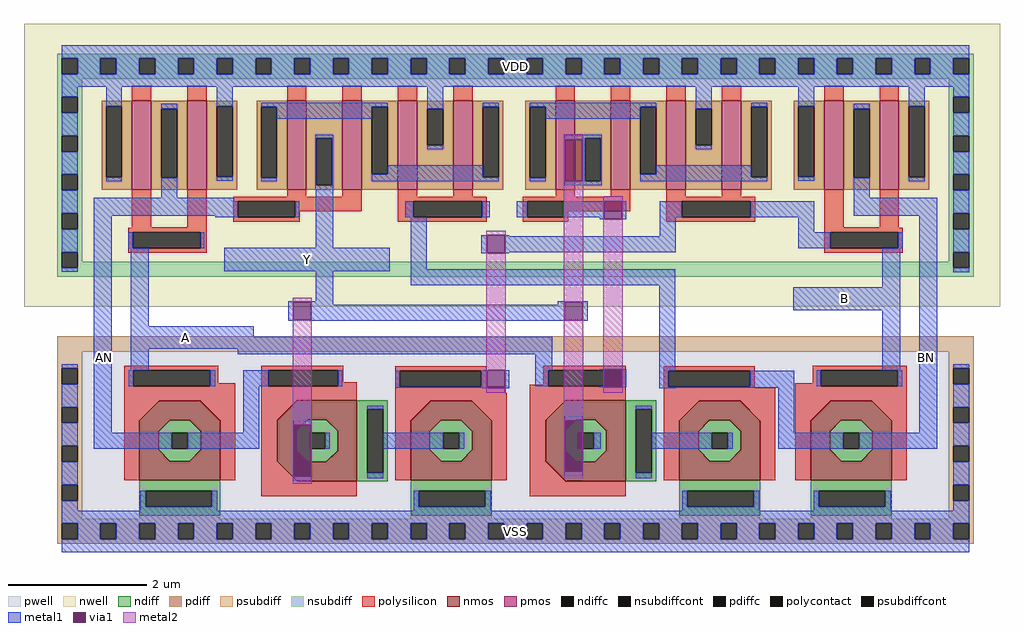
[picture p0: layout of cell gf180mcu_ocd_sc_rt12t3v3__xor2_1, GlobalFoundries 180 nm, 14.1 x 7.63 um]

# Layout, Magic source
magic
tech gf180mcuD
magscale 1 10
<< nwell >>
rect -132 649 2688 1466
<< pwell >>
rect -36 -36 2612 563
<< nmos >>
tri 201 319 259 377 se
rect 259 321 377 377
rect 259 319 287 321
tri 287 319 289 321 nw
tri 347 319 349 321 ne
rect 349 319 377 321
tri 377 319 435 377 sw
rect 201 203 257 319
tri 257 289 287 319 nw
tri 349 289 379 319 ne
tri 257 203 289 235 sw
tri 347 203 379 235 se
rect 379 203 435 319
rect 201 147 435 203
tri 600 321 658 379 se
rect 658 323 830 379
rect 600 293 658 321
tri 658 293 688 323 nw
rect 600 231 656 293
tri 656 291 658 293 nw
tri 742 291 774 323 ne
tri 656 231 658 233 sw
rect 600 203 658 231
tri 600 145 658 203 ne
tri 658 201 688 231 sw
tri 742 201 774 233 se
rect 774 201 830 323
rect 658 145 830 201
tri 985 319 1043 377 se
rect 1043 321 1161 377
rect 1043 319 1071 321
tri 1071 319 1073 321 nw
tri 1131 319 1133 321 ne
rect 1133 319 1161 321
tri 1161 319 1219 377 sw
rect 985 203 1041 319
tri 1041 289 1071 319 nw
tri 1133 289 1163 319 ne
tri 1041 203 1073 235 sw
tri 1131 203 1163 235 se
rect 1163 203 1219 319
rect 985 147 1219 203
tri 1376 321 1434 379 se
rect 1434 323 1606 379
rect 1376 293 1434 321
tri 1434 293 1464 323 nw
rect 1376 231 1432 293
tri 1432 291 1434 293 nw
tri 1518 291 1550 323 ne
tri 1432 231 1434 233 sw
rect 1376 203 1434 231
tri 1376 145 1434 203 ne
tri 1434 201 1464 231 sw
tri 1518 201 1550 233 se
rect 1550 201 1606 323
rect 1434 145 1606 201
tri 1761 319 1819 377 se
rect 1819 321 1937 377
tri 1937 321 1993 377 sw
rect 1819 319 1847 321
tri 1847 319 1849 321 nw
rect 1761 203 1817 319
tri 1817 289 1847 319 nw
tri 1907 289 1939 321 ne
rect 1939 319 1993 321
tri 1993 319 1995 321 sw
tri 1817 203 1849 235 sw
tri 1907 203 1939 235 se
rect 1939 203 1995 319
rect 1761 147 1995 203
tri 2141 319 2199 377 se
rect 2199 321 2317 377
rect 2199 319 2227 321
tri 2227 319 2229 321 nw
tri 2287 319 2289 321 ne
rect 2289 319 2317 321
tri 2317 319 2375 377 sw
rect 2141 203 2197 319
tri 2197 289 2227 319 nw
tri 2289 289 2319 319 ne
tri 2197 203 2229 235 sw
tri 2287 203 2319 235 se
rect 2319 203 2375 319
rect 2141 147 2375 203
<< pmos >>
rect 180 987 236 1244
rect 340 987 396 1244
rect 628 987 684 1244
rect 788 987 844 1244
rect 948 987 1004 1244
rect 1108 987 1164 1244
rect 1404 987 1460 1244
rect 1564 987 1620 1244
rect 1724 987 1780 1244
rect 1884 987 1940 1244
rect 2180 987 2236 1244
rect 2340 987 2396 1244
<< ndiff >>
tri 287 319 289 321 se
rect 289 319 347 321
tri 347 319 349 321 sw
tri 257 289 287 319 se
rect 287 289 349 319
tri 349 289 379 319 sw
rect 257 285 379 289
rect 257 239 295 285
rect 341 239 379 285
rect 257 235 379 239
tri 257 203 289 235 ne
rect 289 203 347 235
tri 347 203 379 235 nw
rect 201 117 435 147
rect 201 71 220 117
rect 411 71 435 117
rect 830 352 919 379
tri 658 293 688 323 se
rect 688 293 742 323
tri 656 291 658 293 se
rect 658 291 742 293
tri 742 291 774 323 sw
rect 656 285 774 291
rect 656 239 692 285
rect 738 239 774 285
rect 656 233 774 239
tri 656 231 658 233 ne
rect 658 231 742 233
tri 658 201 688 231 ne
rect 688 201 742 231
tri 742 201 774 233 nw
rect 830 169 860 352
rect 906 169 919 352
rect 830 145 919 169
tri 1071 319 1073 321 se
rect 1073 319 1131 321
tri 1131 319 1133 321 sw
tri 1041 289 1071 319 se
rect 1071 289 1133 319
tri 1133 289 1163 319 sw
rect 1041 285 1163 289
rect 1041 239 1079 285
rect 1125 239 1163 285
rect 1041 235 1163 239
tri 1041 203 1073 235 ne
rect 1073 203 1131 235
tri 1131 203 1163 235 nw
rect 985 117 1219 147
rect 201 47 435 71
rect 985 71 1009 117
rect 1200 71 1219 117
rect 1606 352 1695 379
tri 1434 293 1464 323 se
rect 1464 293 1518 323
tri 1432 291 1434 293 se
rect 1434 291 1518 293
tri 1518 291 1550 323 sw
rect 1432 285 1550 291
rect 1432 239 1468 285
rect 1514 239 1550 285
rect 1432 233 1550 239
tri 1432 231 1434 233 ne
rect 1434 231 1518 233
tri 1434 201 1464 231 ne
rect 1464 201 1518 231
tri 1518 201 1550 233 nw
rect 1606 169 1636 352
rect 1682 169 1695 352
rect 1606 145 1695 169
tri 1847 319 1849 321 se
rect 1849 319 1907 321
tri 1817 289 1847 319 se
rect 1847 289 1907 319
tri 1907 289 1939 321 sw
rect 1817 285 1939 289
rect 1817 239 1855 285
rect 1901 239 1939 285
rect 1817 235 1939 239
tri 1817 203 1849 235 ne
rect 1849 203 1907 235
tri 1907 203 1939 235 nw
tri 2227 319 2229 321 se
rect 2229 319 2287 321
tri 2287 319 2289 321 sw
tri 2197 289 2227 319 se
rect 2227 289 2289 319
tri 2289 289 2319 319 sw
rect 2197 285 2319 289
rect 2197 239 2235 285
rect 2281 239 2319 285
rect 2197 235 2319 239
tri 2197 203 2229 235 ne
rect 2229 203 2287 235
tri 2287 203 2319 235 nw
rect 1761 117 1995 147
rect 985 47 1219 71
rect 1761 71 1785 117
rect 1976 71 1995 117
rect 1761 47 1995 71
rect 2141 117 2375 147
rect 2141 71 2165 117
rect 2356 71 2375 117
rect 2141 47 2375 71
<< pdiff >>
rect 92 1228 180 1244
rect 92 1023 105 1228
rect 151 1023 180 1228
rect 92 987 180 1023
rect 236 1221 340 1244
rect 236 1022 265 1221
rect 311 1022 340 1221
rect 236 987 340 1022
rect 396 1228 484 1244
rect 396 1024 425 1228
rect 471 1024 484 1228
rect 396 987 484 1024
rect 540 1227 628 1244
rect 540 1022 553 1227
rect 599 1022 628 1227
rect 540 987 628 1022
rect 684 1135 788 1244
rect 684 1000 713 1135
rect 759 1000 788 1135
rect 684 987 788 1000
rect 844 1227 948 1244
rect 844 1032 873 1227
rect 919 1032 948 1227
rect 844 987 948 1032
rect 1004 1221 1108 1244
rect 1004 1115 1033 1221
rect 1079 1115 1108 1221
rect 1004 987 1108 1115
rect 1164 1227 1252 1244
rect 1164 1023 1193 1227
rect 1239 1023 1252 1227
rect 1164 987 1252 1023
rect 1316 1227 1404 1244
rect 1316 1022 1329 1227
rect 1375 1022 1404 1227
rect 1316 987 1404 1022
rect 1460 1135 1564 1244
rect 1460 1012 1489 1135
rect 1535 1012 1564 1135
rect 1460 987 1564 1012
rect 1620 1227 1724 1244
rect 1620 1032 1649 1227
rect 1695 1032 1724 1227
rect 1620 987 1724 1032
rect 1780 1221 1884 1244
rect 1780 1115 1809 1221
rect 1855 1115 1884 1221
rect 1780 987 1884 1115
rect 1940 1227 2028 1244
rect 1940 1023 1969 1227
rect 2015 1023 2028 1227
rect 1940 987 2028 1023
rect 2092 1228 2180 1244
rect 2092 1024 2105 1228
rect 2151 1024 2180 1228
rect 2092 987 2180 1024
rect 2236 1221 2340 1244
rect 2236 1022 2265 1221
rect 2311 1022 2340 1221
rect 2236 987 2340 1022
rect 2396 1228 2484 1244
rect 2396 1023 2425 1228
rect 2471 1023 2484 1228
rect 2396 987 2484 1023
<< ndiffc >>
rect 295 239 341 285
rect 220 71 411 117
rect 692 239 738 285
rect 860 169 906 352
rect 1079 239 1125 285
rect 1009 71 1200 117
rect 1468 239 1514 285
rect 1636 169 1682 352
rect 1855 239 1901 285
rect 2235 239 2281 285
rect 1785 71 1976 117
rect 2165 71 2356 117
<< pdiffc >>
rect 105 1023 151 1228
rect 265 1022 311 1221
rect 425 1024 471 1228
rect 553 1022 599 1227
rect 713 1000 759 1135
rect 873 1032 919 1227
rect 1033 1115 1079 1221
rect 1193 1023 1239 1227
rect 1329 1022 1375 1227
rect 1489 1012 1535 1135
rect 1649 1032 1695 1227
rect 1809 1115 1855 1221
rect 1969 1023 2015 1227
rect 2105 1024 2151 1228
rect 2265 1022 2311 1221
rect 2425 1023 2471 1228
<< psubdiff >>
rect -36 519 2612 563
rect -36 471 36 519
rect -36 425 -23 471
rect 23 425 36 471
rect -36 359 36 425
rect -36 313 -23 359
rect 23 313 36 359
rect -36 247 36 313
rect -36 201 -23 247
rect 23 201 36 247
rect -36 135 36 201
rect -36 89 -23 135
rect 23 89 36 135
rect -36 36 36 89
rect 201 36 435 47
rect 2540 471 2612 519
rect 2540 425 2553 471
rect 2599 425 2612 471
rect 2540 359 2612 425
rect 2540 313 2553 359
rect 2599 313 2612 359
rect 2540 247 2612 313
rect 2540 201 2553 247
rect 2599 201 2612 247
rect 985 36 1219 47
rect 1761 36 1995 47
rect 2141 36 2375 47
rect 2540 135 2612 201
rect 2540 89 2553 135
rect 2599 89 2612 135
rect 2540 36 2612 89
rect -36 23 2612 36
rect -36 -23 -23 23
rect 23 -23 89 23
rect 135 -23 201 23
rect 247 -23 313 23
rect 359 -23 425 23
rect 471 -23 537 23
rect 583 -23 649 23
rect 695 -23 761 23
rect 807 -23 873 23
rect 919 -23 985 23
rect 1031 -23 1097 23
rect 1143 -23 1209 23
rect 1255 -23 1321 23
rect 1367 -23 1433 23
rect 1479 -23 1545 23
rect 1591 -23 1657 23
rect 1703 -23 1769 23
rect 1815 -23 1881 23
rect 1927 -23 1993 23
rect 2039 -23 2105 23
rect 2151 -23 2217 23
rect 2263 -23 2329 23
rect 2375 -23 2441 23
rect 2487 -23 2553 23
rect 2599 -23 2612 23
rect -36 -36 2612 -23
<< nsubdiff >>
rect -36 1367 2612 1380
rect -36 1321 -23 1367
rect 23 1321 89 1367
rect 135 1321 201 1367
rect 247 1321 313 1367
rect 359 1321 425 1367
rect 471 1321 537 1367
rect 583 1321 649 1367
rect 695 1321 761 1367
rect 807 1321 873 1367
rect 919 1321 985 1367
rect 1031 1321 1097 1367
rect 1143 1321 1209 1367
rect 1255 1321 1321 1367
rect 1367 1321 1433 1367
rect 1479 1321 1545 1367
rect 1591 1321 1657 1367
rect 1703 1321 1769 1367
rect 1815 1321 1881 1367
rect 1927 1321 1993 1367
rect 2039 1321 2105 1367
rect 2151 1321 2217 1367
rect 2263 1321 2329 1367
rect 2375 1321 2441 1367
rect 2487 1321 2553 1367
rect 2599 1321 2612 1367
rect -36 1308 2612 1321
rect -36 1255 36 1308
rect -36 1209 -23 1255
rect 23 1209 36 1255
rect 2540 1255 2612 1308
rect -36 1143 36 1209
rect -36 1097 -23 1143
rect 23 1097 36 1143
rect -36 1031 36 1097
rect -36 985 -23 1031
rect 23 985 36 1031
rect 2540 1209 2553 1255
rect 2599 1209 2612 1255
rect 2540 1143 2612 1209
rect 2540 1097 2553 1143
rect 2599 1097 2612 1143
rect 2540 1031 2612 1097
rect -36 919 36 985
rect -36 873 -23 919
rect 23 873 36 919
rect -36 807 36 873
rect -36 761 -23 807
rect 23 779 36 807
rect 2540 985 2553 1031
rect 2599 985 2612 1031
rect 2540 919 2612 985
rect 2540 873 2553 919
rect 2599 873 2612 919
rect 2540 807 2612 873
rect 2540 779 2553 807
rect 23 761 2553 779
rect 2599 761 2612 807
rect -36 735 2612 761
<< psubdiffcont >>
rect -23 425 23 471
rect -23 313 23 359
rect -23 201 23 247
rect -23 89 23 135
rect 2553 425 2599 471
rect 2553 313 2599 359
rect 2553 201 2599 247
rect 2553 89 2599 135
rect -23 -23 23 23
rect 89 -23 135 23
rect 201 -23 247 23
rect 313 -23 359 23
rect 425 -23 471 23
rect 537 -23 583 23
rect 649 -23 695 23
rect 761 -23 807 23
rect 873 -23 919 23
rect 985 -23 1031 23
rect 1097 -23 1143 23
rect 1209 -23 1255 23
rect 1321 -23 1367 23
rect 1433 -23 1479 23
rect 1545 -23 1591 23
rect 1657 -23 1703 23
rect 1769 -23 1815 23
rect 1881 -23 1927 23
rect 1993 -23 2039 23
rect 2105 -23 2151 23
rect 2217 -23 2263 23
rect 2329 -23 2375 23
rect 2441 -23 2487 23
rect 2553 -23 2599 23
<< nsubdiffcont >>
rect -23 1321 23 1367
rect 89 1321 135 1367
rect 201 1321 247 1367
rect 313 1321 359 1367
rect 425 1321 471 1367
rect 537 1321 583 1367
rect 649 1321 695 1367
rect 761 1321 807 1367
rect 873 1321 919 1367
rect 985 1321 1031 1367
rect 1097 1321 1143 1367
rect 1209 1321 1255 1367
rect 1321 1321 1367 1367
rect 1433 1321 1479 1367
rect 1545 1321 1591 1367
rect 1657 1321 1703 1367
rect 1769 1321 1815 1367
rect 1881 1321 1927 1367
rect 1993 1321 2039 1367
rect 2105 1321 2151 1367
rect 2217 1321 2263 1367
rect 2329 1321 2375 1367
rect 2441 1321 2487 1367
rect 2553 1321 2599 1367
rect -23 1209 23 1255
rect -23 1097 23 1143
rect -23 985 23 1031
rect 2553 1209 2599 1255
rect 2553 1097 2599 1143
rect -23 873 23 919
rect -23 761 23 807
rect 2553 985 2599 1031
rect 2553 873 2599 919
rect 2553 761 2599 807
<< polysilicon >>
rect 180 1244 236 1288
rect 340 1244 396 1288
rect 628 1244 684 1288
rect 788 1244 844 1288
rect 948 1244 1004 1288
rect 1108 1244 1164 1288
rect 1404 1244 1460 1288
rect 1564 1244 1620 1288
rect 1724 1244 1780 1288
rect 1884 1244 1940 1288
rect 2180 1244 2236 1288
rect 2340 1244 2396 1288
rect 180 878 236 987
rect 340 878 396 987
rect 628 967 684 987
rect 788 967 844 987
rect 473 954 844 967
rect 473 908 486 954
rect 652 925 844 954
rect 948 967 1004 987
rect 1108 967 1164 987
rect 1404 967 1460 987
rect 1564 967 1620 987
rect 948 954 1205 967
rect 652 908 665 925
rect 473 895 665 908
rect 948 908 993 954
rect 1192 908 1205 954
rect 948 895 1205 908
rect 1309 954 1620 967
rect 1309 908 1322 954
rect 1428 925 1620 954
rect 1724 967 1780 987
rect 1884 967 1940 987
rect 1724 954 1981 967
rect 1428 908 1441 925
rect 1309 895 1441 908
rect 1724 908 1769 954
rect 1968 908 1981 954
rect 1724 895 1981 908
rect 180 877 396 878
rect 169 864 396 877
rect 169 818 182 864
rect 378 818 396 864
rect 169 805 396 818
rect 2180 878 2236 987
rect 2340 878 2396 987
rect 2180 877 2396 878
rect 2180 864 2407 877
rect 2180 818 2198 864
rect 2394 818 2407 864
rect 2180 805 2407 818
rect 157 465 429 478
rect 157 419 184 465
rect 406 428 429 465
rect 553 465 790 478
rect 406 419 479 428
rect 157 377 479 419
rect 157 147 201 377
tri 201 319 259 377 nw
tri 377 319 435 377 ne
rect 435 147 479 377
rect 553 419 574 465
rect 776 430 790 465
rect 941 464 1203 477
rect 776 419 830 430
rect 553 379 830 419
rect 941 418 954 464
rect 1189 419 1203 464
rect 1369 465 1606 478
rect 1369 423 1383 465
rect 1329 419 1383 423
rect 1592 419 1606 465
rect 1189 418 1257 419
rect 941 400 1257 418
rect 553 145 600 379
tri 600 321 658 379 nw
tri 600 145 658 203 sw
rect 941 377 1263 400
rect 941 147 985 377
tri 985 319 1043 377 nw
tri 1161 319 1219 377 ne
rect 1219 147 1263 377
rect 1329 379 1606 419
rect 1717 464 1979 477
rect 1717 418 1730 464
rect 1966 418 1979 464
rect 2147 465 2419 478
rect 2147 428 2170 465
rect 1717 415 1979 418
rect 2097 419 2170 428
rect 2392 419 2419 465
rect 553 101 830 145
rect 1329 145 1376 379
tri 1376 321 1434 379 nw
tri 1376 145 1434 203 sw
rect 1717 377 2039 415
rect 1717 147 1761 377
tri 1761 319 1819 377 nw
tri 1937 321 1993 377 ne
rect 1993 321 2039 377
tri 1993 319 1995 321 ne
rect 1995 147 2039 321
rect 2097 377 2419 419
rect 2097 147 2141 377
tri 2141 319 2199 377 nw
tri 2317 319 2375 377 ne
rect 2375 147 2419 377
rect 1329 101 1606 145
<< polycontact >>
rect 486 908 652 954
rect 993 908 1192 954
rect 1322 908 1428 954
rect 1769 908 1968 954
rect 182 818 378 864
rect 2198 818 2394 864
rect 184 419 406 465
rect 574 419 776 465
rect 954 418 1189 464
rect 1383 419 1592 465
rect 1730 418 1966 464
rect 2170 419 2392 465
<< metal1 >>
rect -23 1367 2599 1404
rect 23 1321 89 1367
rect 135 1321 201 1367
rect 247 1321 313 1367
rect 359 1321 425 1367
rect 471 1321 537 1367
rect 583 1321 649 1367
rect 695 1321 761 1367
rect 807 1321 873 1367
rect 919 1321 985 1367
rect 1031 1321 1097 1367
rect 1143 1321 1209 1367
rect 1255 1321 1321 1367
rect 1367 1321 1433 1367
rect 1479 1321 1545 1367
rect 1591 1321 1657 1367
rect 1703 1321 1769 1367
rect 1815 1321 1881 1367
rect 1927 1321 1993 1367
rect 2039 1321 2105 1367
rect 2151 1321 2217 1367
rect 2263 1321 2329 1367
rect 2375 1321 2441 1367
rect 2487 1321 2553 1367
rect -23 1284 2599 1321
rect -23 1255 23 1284
rect -23 1143 23 1209
rect -23 1031 23 1097
rect 105 1228 151 1284
rect 105 1012 151 1023
rect 265 1221 311 1236
rect -23 919 23 985
rect 265 964 311 1022
rect 425 1228 471 1284
rect 425 1013 471 1024
rect 553 1227 919 1238
rect 599 1192 873 1227
rect 553 1011 599 1022
rect 710 1135 762 1146
rect 710 1000 713 1135
rect 759 1000 762 1135
rect 1033 1221 1079 1284
rect 1033 1104 1079 1115
rect 1193 1227 1239 1238
rect 919 1032 1193 1058
rect 873 1023 1193 1032
rect 873 1012 1239 1023
rect 1329 1227 1695 1238
rect 1375 1192 1649 1227
rect 1484 1145 1538 1146
rect 1329 1011 1375 1022
rect 1430 1135 1538 1145
rect 1430 1133 1489 1135
rect 1482 1012 1489 1133
rect 1535 1012 1538 1135
rect 1809 1221 1855 1284
rect 1809 1104 1855 1115
rect 1969 1227 2015 1238
rect 1695 1032 1969 1058
rect 1649 1023 1969 1032
rect 1649 1012 2015 1023
rect 2105 1228 2151 1284
rect 2105 1013 2151 1024
rect 2265 1221 2311 1236
rect 1430 1000 1538 1012
rect 710 989 762 1000
rect -23 807 23 873
rect -23 750 23 761
rect 69 954 476 964
rect 69 912 486 954
rect -23 471 23 482
rect -23 359 23 425
rect -23 247 23 313
rect 69 285 121 912
rect 420 908 486 912
rect 652 908 663 954
rect 169 818 182 864
rect 378 818 389 864
rect 711 819 762 989
rect 2265 964 2311 1022
rect 2425 1228 2471 1284
rect 2425 1012 2471 1023
rect 2553 1255 2599 1284
rect 2553 1143 2599 1209
rect 2553 1031 2599 1097
rect 970 908 993 954
rect 1192 908 1214 954
rect 1292 908 1322 954
rect 1428 908 1544 954
rect 176 593 228 818
rect 447 752 925 819
rect 986 757 1032 908
rect 1532 902 1544 908
rect 1596 902 1608 954
rect 1705 908 1769 954
rect 1968 908 2151 954
rect 2265 912 2507 964
rect 1189 804 1206 856
rect 1258 853 1270 856
rect 1705 853 1751 908
rect 1258 807 1751 853
rect 2105 864 2151 908
rect 2105 818 2198 864
rect 2394 818 2407 864
rect 1258 804 1270 807
rect 711 665 762 752
rect 986 711 1749 757
rect 632 663 762 665
rect 632 611 646 663
rect 698 654 762 663
rect 1410 662 1497 664
rect 1410 654 1430 662
rect 698 611 1430 654
rect 632 610 1430 611
rect 1482 610 1497 662
rect 632 608 1497 610
rect 176 562 532 593
rect 176 527 1395 562
rect 176 465 228 527
rect 486 511 1395 527
rect 1345 465 1395 511
rect 1532 465 1544 468
rect 170 419 184 465
rect 406 419 421 465
rect 502 419 574 465
rect 776 419 788 465
rect 1194 464 1206 465
rect 502 285 548 419
rect 941 418 954 464
rect 1189 418 1206 464
rect 941 415 1206 418
rect 1194 413 1206 415
rect 1258 413 1270 465
rect 1345 419 1383 465
rect 1532 416 1544 419
rect 1596 416 1608 468
rect 1703 464 1749 711
rect 2348 705 2400 818
rect 2090 639 2400 705
rect 2348 465 2400 639
rect 1703 418 1730 464
rect 1966 418 2093 464
rect 2158 419 2170 465
rect 2392 419 2406 465
rect 1703 415 2093 418
rect 1703 414 1749 415
rect 860 352 906 363
rect 69 239 295 285
rect 341 239 548 285
rect 646 308 698 320
rect 738 239 752 285
rect -23 135 23 201
rect 646 146 698 158
rect 1636 352 1682 363
rect 1430 321 1482 333
rect 906 239 1079 285
rect 1125 239 1140 285
rect 1514 239 1534 285
rect 860 154 906 169
rect 1430 160 1482 172
rect 2047 285 2093 415
rect 2455 285 2507 912
rect 2553 919 2599 985
rect 2553 807 2599 873
rect 2553 749 2599 761
rect 1682 239 1855 285
rect 1901 239 1916 285
rect 2047 239 2235 285
rect 2281 239 2507 285
rect 2553 471 2599 482
rect 2553 359 2599 425
rect 2553 247 2599 313
rect 1636 154 1682 169
rect 2553 135 2599 201
rect -23 60 23 89
rect 204 71 220 117
rect 411 71 426 117
rect 204 60 426 71
rect 994 71 1009 117
rect 1200 71 1216 117
rect 994 60 1216 71
rect 1770 71 1785 117
rect 1976 71 1992 117
rect 1770 60 1992 71
rect 2150 71 2165 117
rect 2356 71 2372 117
rect 2150 60 2372 71
rect 2553 60 2599 89
rect -23 23 2599 60
rect 23 -23 89 23
rect 135 -23 201 23
rect 247 -23 313 23
rect 359 -23 425 23
rect 471 -23 537 23
rect 583 -23 649 23
rect 695 -23 761 23
rect 807 -23 873 23
rect 919 -23 985 23
rect 1031 -23 1097 23
rect 1143 -23 1209 23
rect 1255 -23 1321 23
rect 1367 -23 1433 23
rect 1479 -23 1545 23
rect 1591 -23 1657 23
rect 1703 -23 1769 23
rect 1815 -23 1881 23
rect 1927 -23 1993 23
rect 2039 -23 2105 23
rect 2151 -23 2217 23
rect 2263 -23 2329 23
rect 2375 -23 2441 23
rect 2487 -23 2553 23
rect -23 -60 2599 -23
<< via1 >>
rect 1430 1012 1482 1133
rect 1544 902 1596 954
rect 1206 804 1258 856
rect 646 611 698 663
rect 1430 610 1482 662
rect 1544 465 1596 468
rect 1206 413 1258 465
rect 1544 419 1592 465
rect 1592 419 1596 465
rect 1544 416 1596 419
rect 646 285 698 308
rect 646 239 692 285
rect 692 239 698 285
rect 646 158 698 239
rect 1430 285 1482 321
rect 1430 239 1468 285
rect 1468 239 1482 285
rect 1430 172 1482 239
<< metal2 >>
rect 1428 1133 1484 1147
rect 1428 1012 1430 1133
rect 1482 1012 1484 1133
rect 1204 856 1260 868
rect 1204 804 1206 856
rect 1258 804 1260 856
rect 644 663 700 675
rect 644 611 646 663
rect 698 611 700 663
rect 644 308 700 611
rect 1204 465 1260 804
rect 1204 413 1206 465
rect 1258 413 1260 465
rect 1204 401 1260 413
rect 1428 662 1484 1012
rect 1428 610 1430 662
rect 1482 610 1484 662
rect 644 158 646 308
rect 698 158 700 308
rect 644 138 700 158
rect 1428 321 1484 610
rect 1542 954 1598 968
rect 1542 902 1544 954
rect 1596 902 1598 954
rect 1542 468 1598 902
rect 1542 416 1544 468
rect 1596 416 1598 468
rect 1542 400 1598 416
rect 1428 172 1430 321
rect 1482 172 1484 321
rect 1428 154 1484 172
<< labels >>
flabel metal1 s 0 1284 2576 1404 0 FreeSans 400 180 0 0 VDD
port 7 nsew power bidirectional abutment
flabel metal1 s 0 -60 2576 60 0 FreeSans 400 180 0 0 VSS
port 8 nsew ground bidirectional abutment
flabel metal1 2475 502 2475 502 0 FreeSans 320 90 0 0 BN
flabel metal1 101 502 101 502 0 FreeSans 320 90 0 0 AN
flabel metal1 s 186 527 486 593 0 FreeSans 320 0 0 0 A
port 2 nsew signal input
flabel metal1 447 752 925 819 0 FreeSans 320 180 0 0 Y
port 9 nsew
flabel metal1 s 2090 639 2390 705 0 FreeSans 320 180 0 0 B
port 1 nsew signal input
<< properties >>
string FIXED_BBOX 0 0 2576 1344
<< end >>
